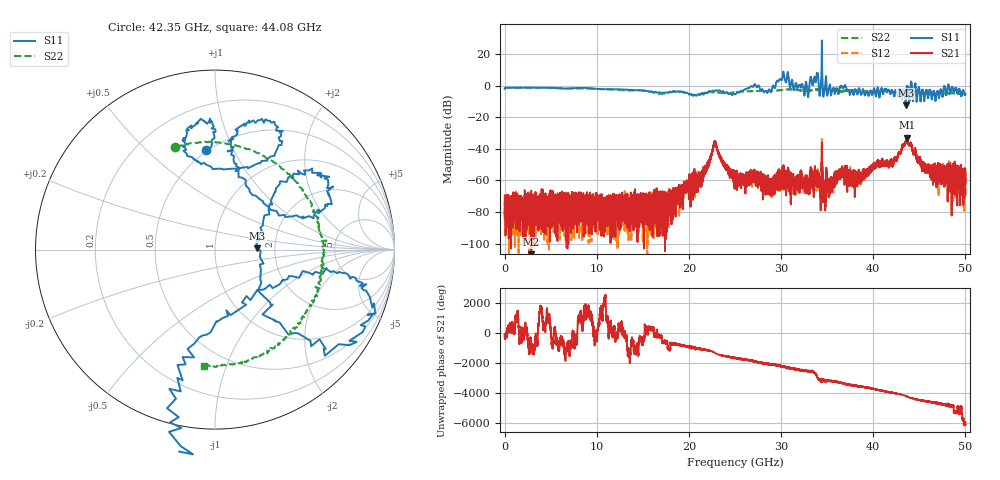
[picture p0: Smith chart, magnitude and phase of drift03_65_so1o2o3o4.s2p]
!Created with skrf (http://scikit-rf.org).
# Hz S RI R 50.0
!freq ReS11 ImS11 ReS21 ImS21 ReS12 ImS12 ReS22 ImS22
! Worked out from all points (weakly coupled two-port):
!   10000 points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, 5.3 MHz to 50 GHz, reference 50 ohm
!   highest |S21| = -32.94 dB at 43.64 GHz (marker M1); lowest = -107.9 dB at 2.9 GHz (marker M2)
!   lowest |S11| = -12.6 dB at 43.52 GHz (marker M3), VSWR 1.61, Z = 80.7 + j1.16 ohm
!   |S11| at or under -10 dB: 43.48442 GHz to 43.55466 GHz (70.24 MHz wide, 0.161 % of centre); 43.90936 GHz to 43.91159 GHz (2.23 MHz wide, 0.00508 % of centre); 44.70368 GHz to 44.71408 GHz (10.4 MHz wide, 0.0233 % of centre) (the widest 3 of 4)
!   |S22| runs from -5.9 to -1.3 dB; largest |S21 - S12| = 0.01
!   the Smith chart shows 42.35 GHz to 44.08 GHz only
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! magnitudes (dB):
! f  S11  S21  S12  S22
! 5.3 MHz  -2.1  -83.5  -82.3  -2.1
! 2.9 GHz  -1.4  -107.9  -76.5  -1.4
! 8.34 GHz  -1.5  -79.5  -69.3  -1.9
! 16.67 GHz  -4.4  -72.4  -75.0  -5.2
! 21.28 GHz  -5.6  -64.3  -59.0  -5.2
! 22.81 GHz  -3.5  -35.2  -35.4  -4.4
! 23.84 GHz  -4.4  -48.8  -49.5  -4.9
! 25.01 GHz  -5.5  -55.9  -60.4  -4.3
! 27.01 GHz  -0.5  -54.4  -56.1  -3.6
! 28.93 GHz  -4.1  -62.7  -63.7  -3.5
! 30.14 GHz  4.4  -56.3  -57.8  -2.8
! 32.74 GHz  2.0  -57.6  -60.0  -3.3
! 33.34 GHz  2.7  -55.3  -57.1  -2.9
! 33.82 GHz  4.0  -58.7  -62.9  -2.5
! 34.87 GHz  5.5  -53.2  -60.7  -2.4
! 36.47 GHz  -0.4  -58.2  -56.5  -3.6
! 38.15 GHz  -3.5  -58.0  -59.2  -2.9
! 41.67 GHz  -2.9  -50.6  -51.2  -3.7
! 43.52 GHz  -12.6  -35.9  -35.6  -4.2
! 43.64 GHz  -1.6  -32.9  -33.3  -4.0
! 45.82 GHz  -3.6  -53.5  -52.4  -5.4
! 50 GHz  -5.1  -59.3  -58.9  -5.0
